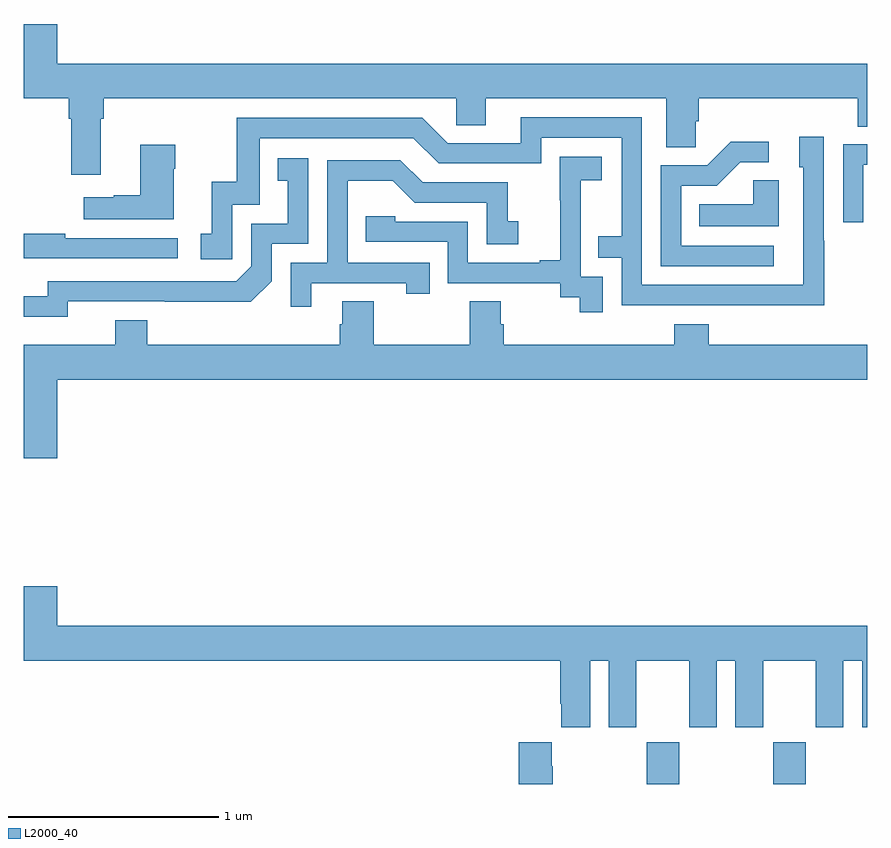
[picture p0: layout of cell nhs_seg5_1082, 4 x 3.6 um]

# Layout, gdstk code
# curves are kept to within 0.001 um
import gdstk
lib = gdstk.Library(unit=1e-6, precision=1e-09)
def R(c, l, rs):  # rectangles x0, y0, x1, y1
    for r in rs: c.add(gdstk.rectangle(r[:2], r[2:], *l))
def P(c, l, *ps):  # polygons
    for p in ps: c.add(gdstk.Polygon(p, *l))
L2000_40 = (2000, 40)

nhs_seg5_1082 = lib.new_cell('nhs_seg5_1082')
R(nhs_seg5_1082, L2000_40, [(179.953,898.799,180.108,898.996), (180.553,898.799,180.708,898.996)])
P(nhs_seg5_1082, L2000_40, [(177.16,902.401),(177,902.401),(177,902.048),(177.215,902.048),(177.215,901.952),(177.227,901.952),(177.227,901.686),(177.367,901.686),(177.367,901.952),(177.38,901.952),(177.38,902.048),(179.052,902.048),(179.052,901.921),(179.191,901.921),(179.191,902.048),(180.047,902.048),(180.047,901.816),(180.186,901.816),(180.186,901.939),(180.2,901.939),(180.2,902.048),(180.953,902.048),(180.953,901.915),(181,901.915),(181,902.212),(177.16,902.212)],
  [(180.795,901.373),(180.792,901.373),(180.792,901.867),(180.677,901.867),(180.677,901.722),(180.696,901.722),(180.696,901.164),(179.931,901.164),(179.931,901.959),(179.357,901.959),(179.357,901.836),(179.01,901.836),(178.89,901.956),(178.011,901.956),(178.011,901.654),(177.893,901.654),(177.893,901.407),(177.84,901.407),(177.84,901.287),(177.99,901.287),(177.99,901.545),(178.119,901.545),(178.119,901.86),(178.848,901.86),(178.968,901.74),(179.454,901.74),(179.454,901.863),(179.835,901.863),(179.835,901.394),(179.725,901.394),(179.725,901.293),(179.835,901.293),(179.835,901.068),(180.795,901.067)],
  [(180.556,901.35),(180.117,901.35),(180.117,901.635),(180.286,901.635),(180.397,901.746),(180.532,901.746),(180.532,901.844),(180.353,901.844),(180.24,901.731),(180.021,901.731),(180.021,901.254),(180.556,901.254)],
  [(180.981,901.734),(181,901.734),(181,901.83),(180.885,901.83),(180.885,901.461),(180.981,901.461)],
  [(177.712,901.715),(177.72,901.715),(177.72,901.828),(177.554,901.828),(177.554,901.589),(177.428,901.589),(177.428,901.579),(177.285,901.579),(177.285,901.475),(177.712,901.475)],
  [(179.745,901.203),(179.64,901.203),(179.64,901.433),(179.642,901.433),(179.642,901.661),(179.74,901.661),(179.74,901.771),(179.542,901.771),(179.542,901.565),(179.543,901.565),(179.543,901.282),(179.447,901.282),(179.447,901.269),(179.106,901.269),(179.106,901.464),(178.761,901.464),(178.761,901.491),(178.621,901.491),(178.621,901.368),(179.01,901.368),(179.01,901.173),(179.544,901.173),(179.544,901.105),(179.637,901.105),(179.637,901.035),(179.745,901.035)],
  [(177.21,901.086),(178.078,901.085),(178.176,901.182),(178.176,901.359),(178.35,901.359),(178.35,901.765),(178.204,901.765),(178.204,901.659),(178.253,901.659),(178.253,901.455),(178.08,901.455),(178.08,901.254),(178.008,901.182),(177.114,901.182),(177.114,901.11),(177,901.11),(177,901.013),(177.21,901.013)],
  [(178.363,901.173),(178.814,901.173),(178.814,901.122),(178.925,901.122),(178.925,901.269),(178.536,901.269),(178.536,901.658),(178.75,901.658),(178.854,901.554),(179.196,901.554),(179.196,901.356),(179.344,901.356),(179.344,901.465),(179.295,901.465),(179.295,901.65),(178.891,901.65),(178.786,901.755),(178.44,901.755),(178.44,901.269),(178.266,901.269),(178.266,901.062),(178.363,901.062)],
  [(180.58,901.661),(180.459,901.661),(180.459,901.546),(180.202,901.546),(180.202,901.442),(180.58,901.442)],
  [(177.73,901.386),(177.197,901.386),(177.197,901.406),(177,901.406),(177,901.29),(177.73,901.29)],
  [(177.16,900.716),(181,900.716),(181,900.88),(180.248,900.88),(180.248,900.979),(180.083,900.979),(180.083,900.88),(179.276,900.88),(179.276,900.978),(179.263,900.978),(179.263,901.088),(179.116,901.088),(179.116,900.88),(178.659,900.88),(178.659,901.088),(178.511,901.088),(178.511,900.978),(178.499,900.978),(178.499,900.88),(177.587,900.88),(177.587,900.997),(177.434,900.997),(177.434,900.88),(177,900.88),(177,900.342),(177.16,900.342)],
  [(179.686,899.384),(179.774,899.384),(179.774,899.067),(179.905,899.067),(179.905,899.384),(180.155,899.384),(180.155,899.067),(180.286,899.067),(180.286,899.384),(180.374,899.384),(180.374,899.067),(180.505,899.067),(180.505,899.384),(180.755,899.384),(180.755,899.067),(180.886,899.067),(180.886,899.384),(180.974,899.384),(180.974,899.067),(181,899.067),(181,899.548),(177.16,899.548),(177.16,899.737),(177,899.737),(177,899.384),(179.543,899.384),(179.543,899.179),(179.549,899.179),(179.549,899.067),(179.686,899.067)],
  [(179.508,898.883),(179.503,898.883),(179.503,898.996),(179.348,898.996),(179.348,898.799),(179.508,898.799)])

lib.write_gds('nhs_seg5_1082.gds')
